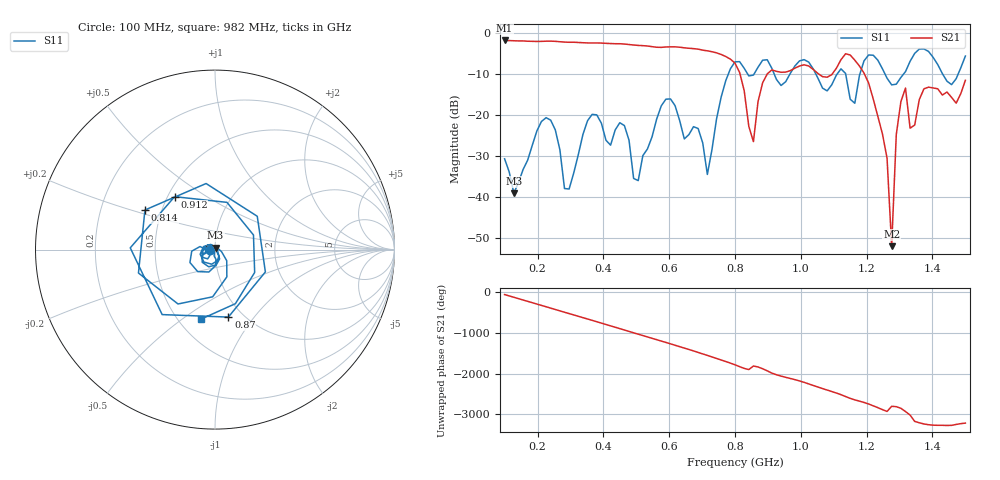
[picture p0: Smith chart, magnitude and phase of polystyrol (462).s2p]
! NanoVNA-App
! Date: 2025-09-25 15:33:29
! Start: 100MHz Stop: 1,5GHz Points: 101
! S-Parameter data: F S11 S21 S12 S22
# Hz S RI R 50
!  Frequency  S11_Real  S11_Imag  S21_Real  S21_Imag  S12_Real  S12_Imag  S22_Real  S22_Imag
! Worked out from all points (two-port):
!   101 points, 100 MHz to 1.5 GHz, reference 50 ohm
!   highest |S21| = -1.80 dB at 100 MHz (marker M1); lowest = -52.0 dB at 1.276 GHz (marker M2)
!   |S21| within 3 dB of the highest: start of sweep to 742.9 MHz
!   lowest |S11| = -39.1 dB at 128 MHz (marker M3), VSWR 1.02, Z = 50.3 + j1.06 ohm
!   |S11| at or under -10 dB: start of sweep to 779.8 MHz; 1.046 GHz to 1.11 GHz (64.74 MHz wide, 6.01 % of centre); 1.256 GHz to 1.312 GHz (56.46 MHz wide, 4.4 % of centre) (the widest 3 of 7)
!   S12 and S22 are empty: the file has one direction only
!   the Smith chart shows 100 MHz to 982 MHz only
!   S11 on the Smith chart (normalised r, x): 100 MHz: 0.94, -0.01; 814 MHz: 0.40, +0.22; 870 MHz: 0.85, -0.75; 912 MHz: 0.54, +0.37; 982 MHz: 0.64, -0.59
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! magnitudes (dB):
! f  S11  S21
! 100 MHz  -30.7  -1.8
! 128 MHz  -39.1  -1.9
! 212 MHz  -21.6  -2.0
! 282 MHz  -38.0  -2.2
! 338 MHz  -24.7  -2.3
! 506 MHz  -36.0  -3.0
! 576 MHz  -17.8  -3.5
! 716 MHz  -34.5  -4.3
! 800 MHz  -7.0  -7.3
! 814 MHz  -7.0  -9.6
! 856 MHz  -10.3  -26.5
! 870 MHz  -8.3  -16.7
! 912 MHz  -8.6  -9.0
! 982 MHz  -8.0  -8.6
! 1.038 GHz  -8.8  -8.9
! 1.164 GHz  -17.1  -6.6
! 1.206 GHz  -5.3  -12.2
! 1.262 GHz  -11.0  -30.6
! 1.276 GHz  -12.6  -52.0
! 1.29 GHz  -12.5  -24.8
! 1.318 GHz  -9.4  -13.4
! 1.5 GHz  -5.6  -11.5
